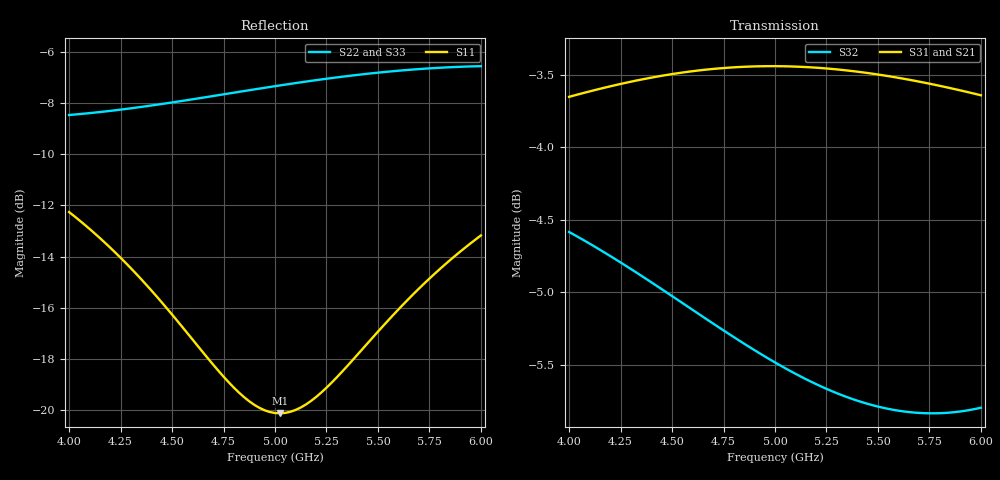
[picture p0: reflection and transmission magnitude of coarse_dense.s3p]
! yapnr rf: divider-osh-w-star-s21, footprint re-simulated (optimization grid)
! spec sha256 6a0819c2165f1f3fb6c0d0ea0c815247ba98a17c61dd25aaa3f8939cffdd7012
! 3 ports renormalized to 50 ohm, e^(+jwt) convention
# GHz S RI R 50
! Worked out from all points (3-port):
!   81 points, 4 GHz to 6 GHz, reference 50 ohm
!   strongest paths, dB at 4 GHz, 4.5 GHz, 5 GHz, 5.5 GHz, 6 GHz:
!     S31: -3.7, -3.5, -3.4, -3.5, -3.6
!     S21: -3.7, -3.5, -3.4, -3.5, -3.6
!     S32: -4.6, -5.0, -5.5, -5.8, -5.8
!   lowest |S11| = -20.1 dB at 5.025 GHz (marker M1), VSWR 1.22, Z = 60.4 - j3.24 ohm
!   |S11| at or under -10 dB: start of sweep to end of sweep
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4  0.0146 0.2434  -0.6377 -0.1577  -0.6377 -0.1577
   -0.6374 -0.1588  0.3627 -0.1035  -0.4984 0.3156
   -0.6374 -0.1588  -0.4984 0.3156  0.3627 -0.1035
4.25  0.0615 0.1887  -0.6628 -0.0271  -0.6628 -0.0271
      -0.663 -0.0286  0.3177 -0.2201  -0.4035 0.4108
      -0.663 -0.0286  -0.4035 0.4108  0.3177 -0.2201
4.5  0.0924 0.1229  -0.659 0.1095  -0.659 0.1095
     -0.6601 0.1078  0.2396 -0.3192  -0.2944 0.4771
     -0.6601 0.1078  -0.2944 0.4771  0.2396 -0.3192
4.825  0.1041 0.0298  -0.6083 0.2834  -0.6083 0.2834
       -0.6106 0.282  0.1001 -0.4064  -0.146 0.5212
       -0.6106 0.282  -0.146 0.5212  0.1001 -0.4064
5  0.0968 -0.0197  -0.5601 0.3698  -0.5601 0.3698
   -0.563 0.3688  0.0142 -0.4292  -0.0679 0.5275
   -0.563 0.3688  -0.0679 0.5275  0.0142 -0.4292
5.025  0.095 -0.0266  -0.5521 0.3815  -0.5521 0.3815
       -0.5551 0.3806  0.00157 -0.4309  -0.057 0.5275
       -0.5551 0.3806  -0.057 0.5275  0.00157 -0.4309
5.2  0.0777 -0.0724  -0.4889 0.458  -0.4889 0.458
     -0.4923 0.4578  -0.0871 -0.4325  0.0174 0.5224
     -0.4923 0.4578  0.0174 0.5224  -0.0871 -0.4325
5.475  0.0361 -0.134  -0.3677 0.5554  -0.3677 0.5554
       -0.3713 0.5565  -0.2206 -0.3982  0.1264 0.4982
       -0.3713 0.5565  0.1264 0.4982  -0.2206 -0.3982
5.75  -0.018 -0.1799  -0.2273 0.6199  -0.2273 0.6199
      -0.2304 0.6225  -0.3343 -0.3235  0.2261 0.458
      -0.2304 0.6225  0.2261 0.458  -0.3343 -0.3235
6  -0.0728 -0.207  -0.0908 0.6475  -0.0908 0.6475
   -0.0929 0.6511  -0.4105 -0.2286  0.3097 0.409
   -0.0929 0.6511  0.3097 0.409  -0.4105 -0.2286
